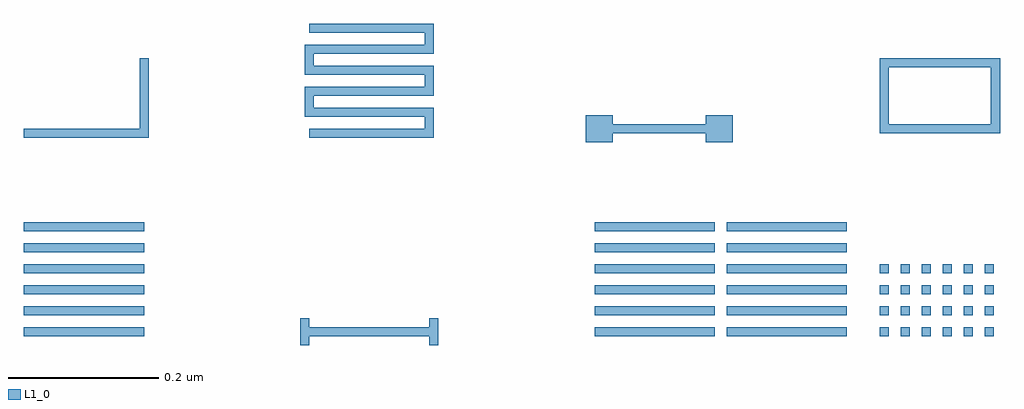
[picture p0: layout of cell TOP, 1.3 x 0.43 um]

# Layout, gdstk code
import gdstk
lib = gdstk.Library(unit=1e-6, precision=1e-10)
def R(c, l, rs):  # rectangles x0, y0, x1, y1
    for r in rs: c.add(gdstk.rectangle(r[:2], r[2:], *l))
def A(c, l, x, y, w, h, nx, ny, dx, dy):  # array of equal rectangles
    R(c, l, [(x+i*dx, y+j*dy, x+i*dx+w, y+j*dy+h) for i in range(nx) for j in range(ny)])
def P(c, l, *ps):  # polygons
    for p in ps: c.add(gdstk.Polygon(p, *l))
L1_0 = (1, 0)

p00000 = lib.new_cell('P00000')
A(p00000, L1_0, 0, 0, 0.16, 0.012, 1, 6, 0, 0.028)

p00001 = lib.new_cell('P00001')
P(p00001, L1_0, [(0.368,0.024),(0.368,-0.012),(0.38,-0.012),(0.38,0),(0.54,0),(0.54,-0.012),(0.552,-0.012),(0.552,0.024),(0.54,0.024),(0.54,0.012),(0.38,0.012),(0.38,0.024)])

p00002 = lib.new_cell('P00002')
A(p00002, L1_0, 0.76, 0, 0.16, 0.012, 1, 6, 0, 0.028)
A(p00002, L1_0, 0.936, 0, 0.16, 0.012, 1, 6, 0, 0.028)

p00003 = lib.new_cell('P00003')
A(p00003, L1_0, 1.14, 0, 0.012, 0.012, 6, 4, 0.028, 0.028)

p00004 = lib.new_cell('P00004')
P(p00004, L1_0, [(0.166,0.37),(0.154,0.37),(0.154,0.276),(0,0.276),(0,0.264),(0.166,0.264)])

p00005 = lib.new_cell('P00005')
P(p00005, L1_0, [(0.546,0.304),(0.386,0.304),(0.386,0.32),(0.546,0.32),(0.546,0.36),(0.386,0.36),(0.386,0.376),(0.546,0.376),(0.546,0.416),(0.38,0.416),(0.38,0.404),(0.534,0.404),(0.534,0.388),(0.374,0.388),(0.374,0.348),(0.534,0.348),(0.534,0.332),(0.374,0.332),(0.374,0.292),(0.534,0.292),(0.534,0.276),(0.38,0.276),(0.38,0.264),(0.546,0.264)])

p00006 = lib.new_cell('P00006')
P(p00006, L1_0, [(0.784,0.27),(0.908,0.27),(0.908,0.258),(0.944,0.258),(0.944,0.294),(0.908,0.294),(0.908,0.282),(0.784,0.282),(0.784,0.294),(0.748,0.294),(0.748,0.258),(0.784,0.258)])

p00007 = lib.new_cell('P00007')
P(p00007, L1_0, [(1.3,0.37),(1.14,0.37),(1.14,0.282),(1.152,0.282),(1.152,0.358),(1.288,0.358),(1.288,0.282),(1.14,0.282),(1.14,0.27),(1.3,0.27)])

top = lib.new_cell('TOP')
top.add(gdstk.Reference(p00000, (0,0)))
top.add(gdstk.Reference(p00001, (0,0)))
top.add(gdstk.Reference(p00002, (0,0)))
top.add(gdstk.Reference(p00003, (0,0)))
top.add(gdstk.Reference(p00004, (0,0)))
top.add(gdstk.Reference(p00005, (0,0)))
top.add(gdstk.Reference(p00006, (0,0)))
top.add(gdstk.Reference(p00007, (0,0)))

lib.write_gds('TOP.gds')
